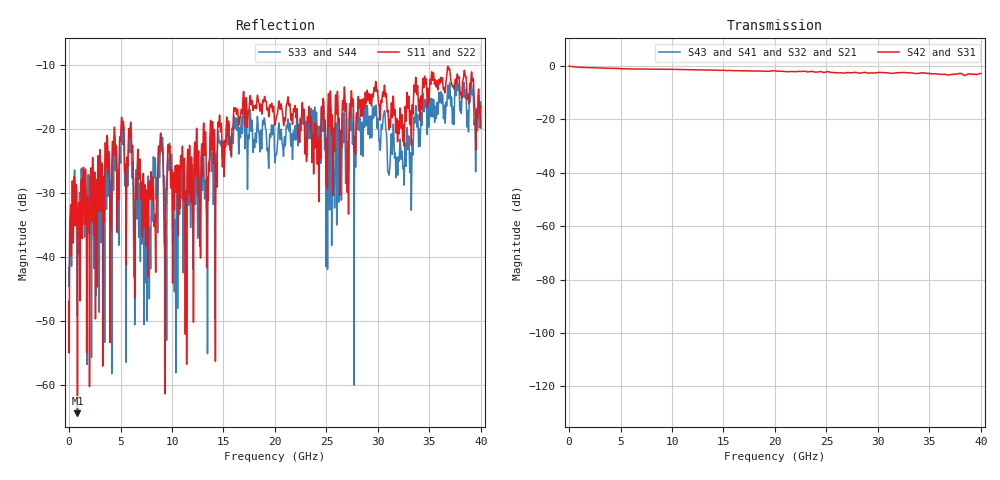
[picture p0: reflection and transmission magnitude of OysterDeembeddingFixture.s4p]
! File created by SignalIntegrity v1.1.1: Signal and Power Integrity Tools
! https://github.com/TeledyneLeCroy/SignalIntegrity
# MHz MA S R 50.0
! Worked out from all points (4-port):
!   8000 points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, 5 MHz to 40 GHz, reference 50 ohm
!   strongest paths, dB at 5 MHz, 10.01 GHz, 20 GHz, 30 GHz, 40 GHz:
!     S42: -0.1, -1.2, -1.8, -2.5, -2.8
!     S31: -0.1, -1.2, -1.8, -2.5, -2.8
!     S43: -, -, -, -, -
!     S41: -, -, -, -, -
!     S32: -, -, -, -, -
!     S21: -, -, -, -, -
!   lowest |S11| = -64.4 dB at 815 MHz (marker M1), VSWR 1.00, Z = 49.9 + j0.0217 ohm
!   |S11| at or under -10 dB: start of sweep to end of sweep
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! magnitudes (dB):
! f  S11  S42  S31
! 5 MHz  -46.9  -0.1  -0.1
! 815 MHz  -64.4  -0.4  -0.4
! 5.13 GHz  -18.6  -1.0  -1.0
! 6.42 GHz  -37.1  -1.1  -1.1
! 10.38 GHz  -28.9  -1.3  -1.3
! 16.85 GHz  -16.9  -1.8  -1.8
! 40 GHz  -19.9  -2.8  -2.8
